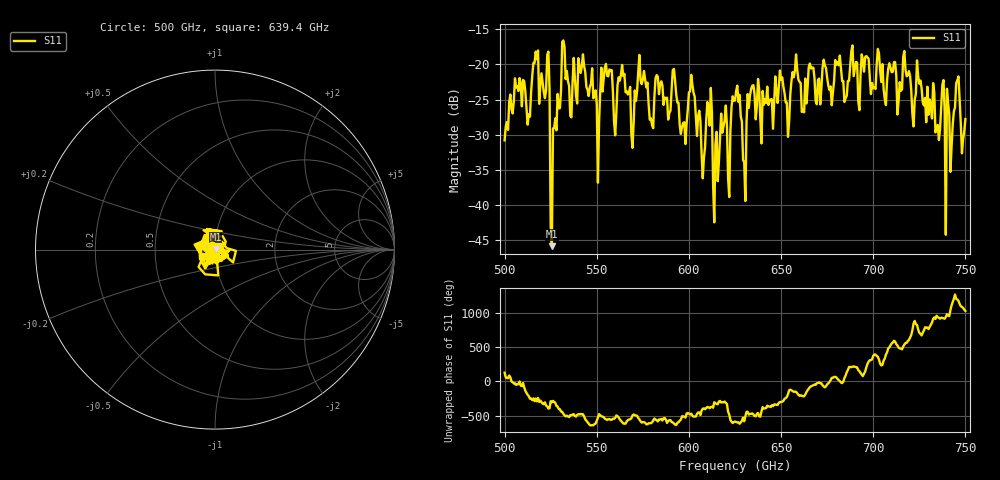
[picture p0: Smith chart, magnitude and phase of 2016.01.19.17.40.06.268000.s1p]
!Created with skrf (http://scikit-rf.org).
# GHz S RI R 50.0
!freq ReS11 ImS11
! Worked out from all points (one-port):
!   401 points, 500 GHz to 750 GHz, reference 50 ohm
!   lowest |S11| = -45.9 dB at 525.6 GHz (marker M1), VSWR 1.01, Z = 50.3 + j0.422 ohm
!   |S11| at or under -10 dB: start of sweep to end of sweep
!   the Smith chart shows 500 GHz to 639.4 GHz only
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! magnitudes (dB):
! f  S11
! 500 GHz  -30.8
! 506.9 GHz  -23.1
! 513.1 GHz  -27.1
! 516.9 GHz  -18.2
! 523.1 GHz  -18.7
! 525.6 GHz  -45.9
! 531.2 GHz  -16.8
! 550 GHz  -25.7
! 553.8 GHz  -22.0
! 560 GHz  -30.1
! 562.5 GHz  -22.3
! 570 GHz  -28.4
! 573.8 GHz  -22.2
! 579.4 GHz  -27.7
! 583.1 GHz  -21.7
! 593.8 GHz  -25.4
! 596.9 GHz  -28.3
! 601.9 GHz  -22.9
! 607.5 GHz  -36.2
! 611.2 GHz  -28.7
! 614.4 GHz  -31.4
! 625 GHz  -25.2
! 630 GHz  -33.9
! 634.4 GHz  -23.0
! 656.2 GHz  -21.1
! 687.5 GHz  -20.3
! 718.8 GHz  -21.5
! 750 GHz  -27.8
